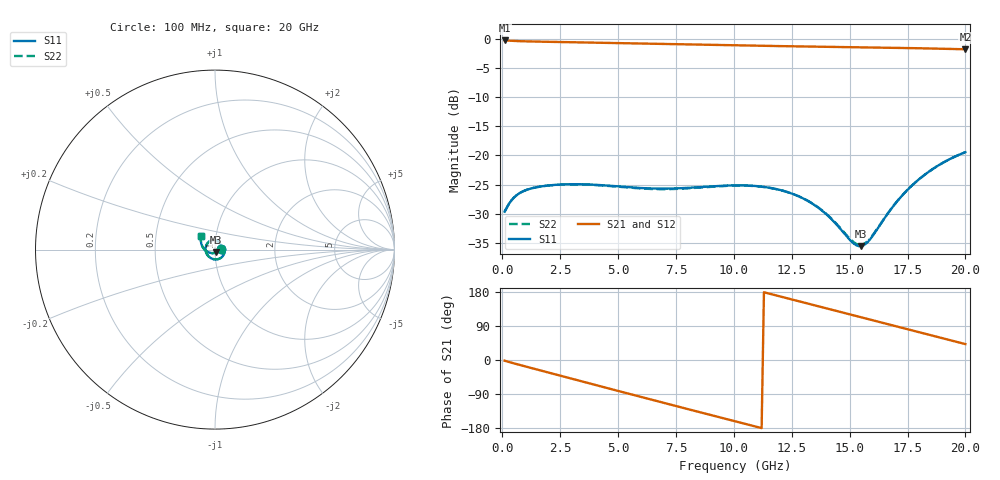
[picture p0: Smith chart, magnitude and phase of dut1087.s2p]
! Touchstone file exported from HFSS 2026.1.0
!  File:  C:/ffzhzh/LocalFiles/Ansys_Project_Files/temp_train_TSV_RDL_1087_1783301398_38704.aedt
!  Generated:  09:38:41 AM Jul  6, 2026
!  Design:  TSV_RDL
!  Project:  temp_train_TSV_RDL_1087_1783301398_38704
! Variables:
!  h_bsmrdl = 5.67um
!  h_ox = 20um
!  h_rdl = 5um
!  h_sub = 59.49um
!  h_tmrdl = 2.66um
!  h_tsv = 59.49um
!  h_via = 3um
!  l_bsmrdl = 600.21um
!  l_sub = 5601.03um
!  l_tmrdl = 822.5um
!  m_sub = 200um
!  pitch = 21.8um
!  r_tsv = 5.05um
!  s_tmrdl = 10um
!  w_bsmrdl = 18.72um
!  w_sub = 500um
!  w_tmrdl = 18.08um
!  x_tsv_center1 = 831.54um
!  x_tsv_center2 = 1450.47um
!  x_tsv_center3 = 2291.05um
!  x_tsv_center4 = 2909.98um
!  x_tsv_center5 = 3750.56um
!  x_tsv_center6 = 4369.49um
# GHz S MA R 50.000000
! Terminal data exported
! Port[1] = TM_RDL1_1_T1
! Port[2] = TM_RDL5_1_T1
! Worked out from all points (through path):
!   200 points, 100 MHz to 20 GHz, reference 50 ohm
!   highest |S21| = -0.29 dB at 100 MHz (marker M1); lowest = -1.8 dB at 20 GHz (marker M2)
!   group delay of S21, straight-line fit = 44 ps
!   lowest |S11| = -35.6 dB at 15.5 GHz (marker M3), VSWR 1.03, Z = 50.6 - j1.58 ohm
!   |S11| at or under -10 dB: start of sweep to end of sweep
!   |S22| runs from -35.3 to -19.5 dB; largest |S21 - S12| = 4.5e-13
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0.1  0.03292 6.3  0.9674 -1.9  0.9674 -1.9  0.03292 6.3
! Gamma 0 0 0 0
! Port Impedance 50 0 50 0
0.5  0.04343 7.4  0.9581 -8.8  0.9581 -8.8  0.04343 7.4
1.1  0.05104 -4.7  0.9495 -18.7  0.9495 -18.7  0.05101 -4.7
2.2  0.05571 -27.4  0.9405 -36.5  0.9405 -36.5  0.05562 -27.4
3.5  0.0565 -56.1  0.931 -57.5  0.931 -57.5  0.05629 -56.0
4.3  0.05552 -75.6  0.9249 -70.4  0.9249 -70.4  0.05522 -75.6
5.1  0.05401 -96.7  0.9187 -83.2  0.9187 -83.2  0.05362 -96.8
5.9  0.05261 -119.4  0.9121 -96.0  0.9121 -96.0  0.05214 -119.5
6.8  0.05184 -146.1  0.9046 -110.3  0.9046 -110.3  0.05132 -146.4
8.5  0.05343 163.6  0.8903 -137.3  0.8903 -137.3  0.05297 163.0
10.1  0.05539 120.6  0.8778 -162.5  0.8778 -162.5  0.0551 119.8
11.7  0.05207 81.4  0.8671 172.5  0.8671 172.5  0.052 80.5
12.5  0.04707 62.0  0.8625 159.9  0.8625 159.9  0.04711 61.1
13.4  0.03846 38.6  0.8576 145.8  0.8576 145.8  0.03862 37.6
14.1  0.0299 16.7  0.854 134.8  0.854 134.8  0.03017 15.6
15.1  0.01809 -35.2  0.8486 119.1  0.8486 119.1  0.01855 -36.0
15.5  0.01665 -69.3  0.8464 112.7  0.8464 112.7  0.0171 -69.3
15.9  0.01923 -103.4  0.844 106.4  0.844 106.4  0.01956 -102.8
16.7  0.03279 -147.0  0.8388 93.8  0.8388 93.8  0.03289 -146.6
17.4  0.04834 -169.6  0.8338 82.8  0.8338 82.8  0.04833 -169.5
18.2  0.06726 170.9  0.8277 70.2  0.8277 70.2  0.06719 170.8
20  0.1065 135.5  0.8129 42.0  0.8129 42.0  0.1064 135.2
